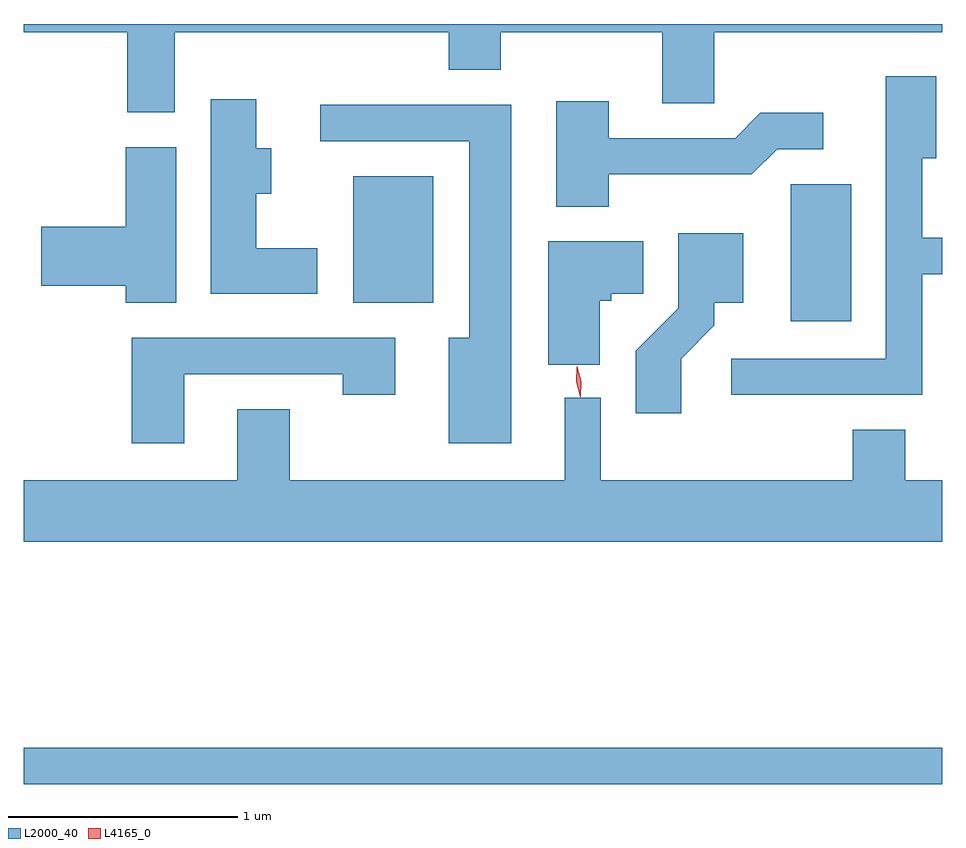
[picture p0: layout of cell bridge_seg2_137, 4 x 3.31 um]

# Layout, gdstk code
import gdstk
lib = gdstk.Library(unit=1e-6, precision=1e-09)
def R(c, l, rs):  # rectangles x0, y0, x1, y1
    for r in rs: c.add(gdstk.rectangle(r[:2], r[2:], *l))
def P(c, l, *ps):  # polygons
    for p in ps: c.add(gdstk.Polygon(p, *l))
L2000_40 = (2000, 40)
L4165_0 = (4165, 0)

bridge_seg2_137 = lib.new_cell('bridge_seg2_137')
R(bridge_seg2_137, L2000_40, [(985.931,1045.041,989.931,1045.199), (989.271,1047.056,989.534,1047.654), (987.366,1047.136,987.714,1047.689)])
P(bridge_seg2_137, L2000_40, [(986.589,1048.316),(987.781,1048.316),(987.781,1048.151),(988.009,1048.151),(988.009,1048.316),(988.711,1048.316),(988.711,1048.006),(988.939,1048.006),(988.939,1048.316),(989.931,1048.316),(989.931,1048.351),(985.931,1048.351),(985.931,1048.316),(986.381,1048.316),(986.381,1047.966),(986.589,1047.966)],
  [(989.844,1047.261),(989.931,1047.261),(989.931,1047.419),(989.844,1047.419),(989.844,1047.766),(989.904,1047.766),(989.904,1048.124),(989.686,1048.124),(989.686,1046.894),(989.013,1046.894),(989.013,1046.736),(989.844,1046.736)],
  [(987.209,1047.374),(986.944,1047.374),(986.944,1047.611),(987.009,1047.611),(987.009,1047.809),(986.944,1047.809),(986.944,1048.024),(986.746,1048.024),(986.746,1047.176),(987.209,1047.176)],
  [(988.479,1047.696),(989.102,1047.696),(989.212,1047.806),(989.413,1047.806),(989.413,1047.964),(989.139,1047.964),(989.029,1047.854),(988.479,1047.854),(988.479,1048.014),(988.251,1048.014),(988.251,1047.556),(988.479,1047.556)],
  [(988.054,1047.999),(987.223,1047.999),(987.223,1047.841),(987.871,1047.841),(987.871,1046.984),(987.781,1046.984),(987.781,1046.526),(988.054,1046.526)],
  [(986.594,1047.814),(986.376,1047.814),(986.376,1047.469),(986.006,1047.469),(986.006,1047.211),(986.376,1047.211),(986.376,1047.136),(986.594,1047.136)],
  [(988.794,1046.894),(988.939,1047.039),(988.939,1047.136),(989.064,1047.136),(989.064,1047.439),(988.781,1047.439),(988.781,1047.112),(988.596,1046.927),(988.596,1046.656),(988.794,1046.656)],
  [(988.439,1047.146),(988.489,1047.146),(988.489,1047.176),(988.629,1047.176),(988.629,1047.404),(988.216,1047.404),(988.216,1046.866),(988.439,1046.866)],
  [(986.629,1046.826),(987.321,1046.826),(987.321,1046.736),(987.549,1046.736),(987.549,1046.984),(986.401,1046.984),(986.401,1046.526),(986.629,1046.526)],
  [(989.931,1046.364),(989.769,1046.364),(989.769,1046.584),(989.541,1046.584),(989.541,1046.364),(988.444,1046.364),(988.444,1046.723),(988.286,1046.723),(988.286,1046.364),(987.089,1046.364),(987.089,1046.674),(986.861,1046.674),(986.861,1046.364),(985.931,1046.364),(985.931,1046.096),(989.931,1046.096)])
P(bridge_seg2_137, L4165_0, [(988.355,1046.728),(988.338,1046.793),(988.34,1046.859),(988.341,1046.86),(988.341,1046.859),(988.358,1046.795),(988.356,1046.728),(988.356,1046.728)])

lib.write_gds('bridge_seg2_137.gds')
